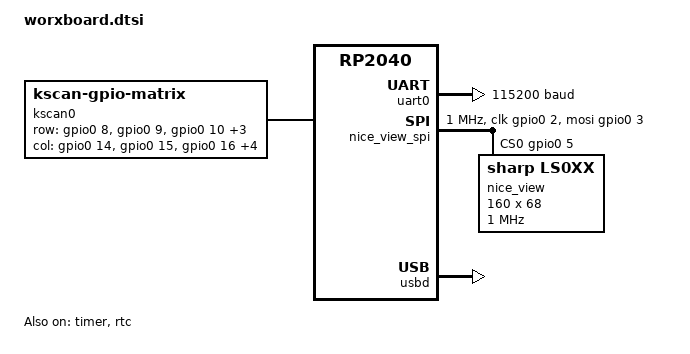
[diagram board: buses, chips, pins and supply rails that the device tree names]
/* SPDX-License-Identifier: MIT */
/dts-v1/;

#include <raspberrypi/rpi_pico/rp2040.dtsi>
#include <arm/raspberrypi/rp2040-boot-mode-retention.dtsi>
#include <freq.h>

#include "worxboard-pinctrl.dtsi"
#include "worxboard-layouts.dtsi"

/ {
    chosen {
        zephyr,sram = &sram0;
        zephyr,flash = &flash0;
        zephyr,flash-controller = &ssi;
        zephyr,code-partition = &code_partition;
        zmk,kscan = &kscan0;
        zmk,physical-layout = &worxboard_layout;
        zephyr,display = &nice_view;
    };

    /* Matrix 6 x 7 col2row (design.md §3/§5). COLn = physical column Cn, C0 outer, on both
     * PCBs; the right .dts reverses col-gpios so its logical order runs inner -> outer. */
    kscan0: kscan {
        compatible = "zmk,kscan-gpio-matrix";
        wakeup-source;
        diode-direction = "col2row";
        row-gpios
            = <&gpio0 8  (GPIO_ACTIVE_HIGH | GPIO_PULL_DOWN)>
            , <&gpio0 9  (GPIO_ACTIVE_HIGH | GPIO_PULL_DOWN)>
            , <&gpio0 10 (GPIO_ACTIVE_HIGH | GPIO_PULL_DOWN)>
            , <&gpio0 11 (GPIO_ACTIVE_HIGH | GPIO_PULL_DOWN)>
            , <&gpio0 12 (GPIO_ACTIVE_HIGH | GPIO_PULL_DOWN)>
            , <&gpio0 13 (GPIO_ACTIVE_HIGH | GPIO_PULL_DOWN)>
            ;
        col-gpios
            = <&gpio0 14 GPIO_ACTIVE_HIGH>
            , <&gpio0 15 GPIO_ACTIVE_HIGH>
            , <&gpio0 16 GPIO_ACTIVE_HIGH>
            , <&gpio0 17 GPIO_ACTIVE_HIGH>
            , <&gpio0 18 GPIO_ACTIVE_HIGH>
            , <&gpio0 19 GPIO_ACTIVE_HIGH>
            , <&gpio0 20 GPIO_ACTIVE_HIGH>
            ;
    };

    wired_split {
        compatible = "zmk,wired-split";
        device = <&uart0>;
    };
};

&flash0 {
    reg = <0x10000000 DT_SIZE_M(4)>;

    partitions {
        compatible = "fixed-partitions";
        #address-cells = <1>;
        #size-cells = <1>;

        second_stage_bootloader: partition@0 {
            reg = <0x00000000 0x100>;
            read-only;
        };

        code_partition: partition@100 {
            reg = <0x100 (DT_SIZE_M(4) - 0x100 - DT_SIZE_K(512))>;
            read-only;
        };

        storage_partition: partition@380000 {
            reg = <0x380000 DT_SIZE_K(512)>;
        };
    };
};

&uart0 {
    status = "okay";
    current-speed = <115200>;
    pinctrl-0 = <&uart0_default>;
    pinctrl-names = "default";
};

&pio1 {
    status = "okay";

    nice_view_spi: nice_view_spi {
        compatible = "raspberrypi,pico-spi-pio";
        status = "okay";
        #address-cells = <1>;
        #size-cells = <0>;
        clocks = <&clocks RPI_PICO_CLKID_CLK_SYS>;
        clock-frequency = <DT_FREQ_M(1)>;
        pinctrl-0 = <&pio1_spi_default>;
        pinctrl-names = "default";
        clk-gpios = <&gpio0 2 GPIO_ACTIVE_HIGH>;
        mosi-gpios = <&gpio0 3 GPIO_ACTIVE_HIGH>;
        cs-gpios = <&gpio0 5 GPIO_ACTIVE_HIGH>;

        nice_view: ls0xx@0 {
            compatible = "sharp,ls0xx";
            reg = <0>;
            spi-max-frequency = <DT_FREQ_M(1)>;
            width = <160>;
            height = <68>;
            serial-vcom-inversion;
            serial-vcom-interval = <33>;
        };
    };
};

&timer {
    status = "okay";
};

&rtc {
    clocks = <&clocks RPI_PICO_CLKID_CLK_RTC>;
    status = "okay";
};

&vreg {
    regulator-always-on;
    regulator-allowed-modes = <REGULATOR_RPI_PICO_MODE_NORMAL>;
};

&gpio0 {
    status = "okay";
};

zephyr_udc0: &usbd {
    status = "okay";
};
